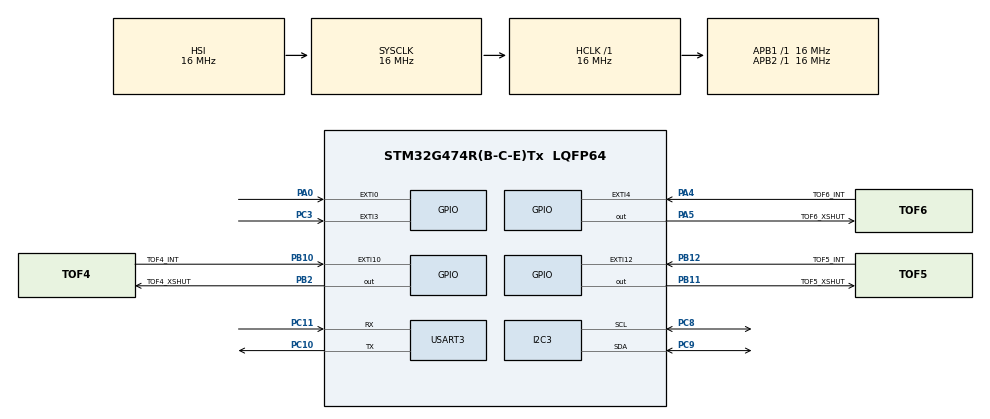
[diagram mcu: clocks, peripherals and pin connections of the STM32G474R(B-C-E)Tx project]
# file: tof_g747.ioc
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I2C3.Timing=0x00503D58
Mcu.Family=STM32G4
Mcu.Name=STM32G474R(B-C-E)Tx
Mcu.Package=LQFP64
NVIC.EXTI15_10_IRQn=true\:0\:0\:false\:false\:true\:true\:true\:true
NVIC.EXTI4_IRQn=true\:0\:0\:false\:false\:true\:true\:true\:true
NVIC.PriorityGroup=NVIC_PRIORITYGROUP_4
PA0.Signal=GPXTI0
PA13.Mode=Serial_Wire
PA13.Signal=SYS_JTMS-SWDIO
PA14.Mode=Serial_Wire
PA14.Signal=SYS_JTCK-SWCLK
PA4.GPIO_Label=TOF6_INT
PA4.Signal=GPXTI4
PA5.GPIO_Label=TOF6_XSHUT
PA5.Signal=GPIO_Output
PB10.GPIO_Label=TOF4_INT
PB10.Signal=GPXTI10
PB11.GPIO_Label=TOF5_XSHUT
PB11.Signal=GPIO_Output
PB12.GPIO_Label=TOF5_INT
PB12.Signal=GPXTI12
PB2.GPIO_Label=TOF4_XSHUT
PB2.Signal=GPIO_Output
PC10.Mode=Asynchronous
PC10.Signal=USART3_TX
PC11.Mode=Asynchronous
PC11.Signal=USART3_RX
PC3.Signal=GPXTI3
PC8.Mode=I2C
PC8.Signal=I2C3_SCL
PC9.Mode=I2C
PC9.Signal=I2C3_SDA
ProjectManager.HeapSize=0x200
ProjectManager.StackSize=0x400
ProjectManager.TargetToolchain=STM32CubeIDE
RCC.AHBFreq_Value=16000000
RCC.APB1Freq_Value=16000000
RCC.APB1TimFreq_Value=16000000
RCC.APB2Freq_Value=16000000
RCC.APB2TimFreq_Value=16000000
RCC.CortexFreq_Value=16000000
RCC.EXTERNAL_CLOCK_VALUE=12288000
RCC.HCLKFreq_Value=16000000
RCC.HSE_VALUE=8000000
RCC.HSI48_VALUE=48000000
RCC.HSI_VALUE=16000000
RCC.LSE_VALUE=32768
RCC.SYSCLKFreq_VALUE=16000000
RCC.USBFreq_Value=64000000
RCC.VCOOutputFreq_Value=128000000
USART3.VirtualMode-Asynchronous=VM_ASYNC
VP_SYS_VS_DBSignals.Mode=DisableDeadBatterySignals
board=custom

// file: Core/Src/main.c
/* USER CODE BEGIN Header */
/**
 ******************************************************************************
 * @file           : main.c
 * @brief          : Main program body
 ******************************************************************************
 * @attention
 *
 * Copyright (c) 2025 STMicroelectronics.
 * All rights reserved.
 *
 * This software is licensed under terms that can be found in the LICENSE file
 * in the root directory of this software component.
 * If no LICENSE file comes with this software, it is provided AS-IS.
 *
 ******************************************************************************
 */
/* USER CODE END Header */
#include "main.h"
#include "i2c.h"
#include "usart.h"
#include "gpio.h"

/* USER CODE BEGIN Includes */

#include <stdio.h>
#include "tof.h"
/* USER CODE END Includes */

void SystemClock_Config(void);

/* USER CODE BEGIN 0 */

int __io_putchar(int chr)
{
	HAL_UART_Transmit(&huart3, (uint8_t*) &chr, 1, HAL_MAX_DELAY);
	return chr;
}

void HAL_GPIO_EXTI_Callback(uint16_t GPIO_Pin)
{
	printf("oui \r\n");
	tof_thresholded(GPIO_Pin);
}

/* USER CODE END 0 */

int main(void)
{

  /* MCU Configuration--------------------------------------------------------*/

  /* Reset of all peripherals, Initializes the Flash interface and the Systick. */
  HAL_Init();

  /* Configure the system clock */
  SystemClock_Config();

  /* Initialize all configured peripherals */
  MX_GPIO_Init();
  MX_USART3_UART_Init();
  MX_I2C3_Init();
  /* USER CODE BEGIN 2 */

  printf("============ TOF sur mcu g747 !!!  ==========\r\n");

  HAL_NVIC_DisableIRQ(EXTI4_IRQn);
  HAL_NVIC_DisableIRQ(EXTI15_10_IRQn);

  tof_init_all();
  printf("tof init done !\r\n");

  HAL_NVIC_EnableIRQ(EXTI4_IRQn);
  HAL_NVIC_EnableIRQ(EXTI15_10_IRQn);

  /* USER CODE END 2 */

  /* Infinite loop */
	while (1)
	{

	}
}

void SystemClock_Config(void)
{
  RCC_OscInitTypeDef RCC_OscInitStruct = {0};
  RCC_ClkInitTypeDef RCC_ClkInitStruct = {0};

  /** Configure the main internal regulator output voltage
  */
  HAL_PWREx_ControlVoltageScaling(PWR_REGULATOR_VOLTAGE_SCALE1);

  /** Initializes the RCC Oscillators according to the specified parameters
  * in the RCC_OscInitTypeDef structure.
  */
  RCC_OscInitStruct.OscillatorType = RCC_OSCILLATORTYPE_HSI;
  RCC_OscInitStruct.HSIState = RCC_HSI_ON;
  RCC_OscInitStruct.HSICalibrationValue = RCC_HSICALIBRATION_DEFAULT;
  RCC_OscInitStruct.PLL.PLLState = RCC_PLL_NONE;
  if (HAL_RCC_OscConfig(&RCC_OscInitStruct) != HAL_OK)
  {
    Error_Handler();
  }

  /** Initializes the CPU, AHB and APB buses clocks
  */
  RCC_ClkInitStruct.ClockType = RCC_CLOCKTYPE_HCLK|RCC_CLOCKTYPE_SYSCLK
                              |RCC_CLOCKTYPE_PCLK1|RCC_CLOCKTYPE_PCLK2;
  RCC_ClkInitStruct.SYSCLKSource = RCC_SYSCLKSOURCE_HSI;
  RCC_ClkInitStruct.AHBCLKDivider = RCC_SYSCLK_DIV1;
  RCC_ClkInitStruct.APB1CLKDivider = RCC_HCLK_DIV1;
  RCC_ClkInitStruct.APB2CLKDivider = RCC_HCLK_DIV1;

  if (HAL_RCC_ClockConfig(&RCC_ClkInitStruct, FLASH_LATENCY_0) != HAL_OK)
  {
    Error_Handler();
  }
}

void Error_Handler(void)
{
	__disable_irq();
	while (1)
	{
	}
}
